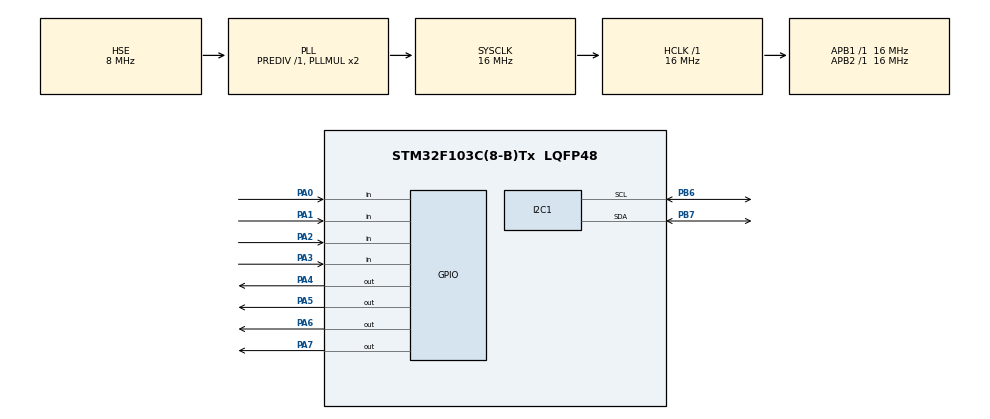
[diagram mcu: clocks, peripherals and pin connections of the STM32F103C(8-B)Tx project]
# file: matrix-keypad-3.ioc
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Mcu.Family=STM32F1
Mcu.Name=STM32F103C(8-B)Tx
Mcu.Package=LQFP48
NVIC.PriorityGroup=NVIC_PRIORITYGROUP_4
PA0-WKUP.Signal=GPIO_Input
PA1.Signal=GPIO_Input
PA13.Mode=Serial_Wire
PA13.Signal=SYS_JTMS-SWDIO
PA14.Mode=Serial_Wire
PA14.Signal=SYS_JTCK-SWCLK
PA2.Signal=GPIO_Input
PA3.Signal=GPIO_Input
PA4.Signal=GPIO_Output
PA5.Signal=GPIO_Output
PA6.Signal=GPIO_Output
PA7.Signal=GPIO_Output
PB6.Mode=I2C
PB6.Signal=I2C1_SCL
PB7.Mode=I2C
PB7.Signal=I2C1_SDA
PD0-OSC_IN.Mode=HSE-External-Oscillator
PD0-OSC_IN.Signal=RCC_OSC_IN
PD1-OSC_OUT.Mode=HSE-External-Oscillator
PD1-OSC_OUT.Signal=RCC_OSC_OUT
ProjectManager.HeapSize=0x200
ProjectManager.StackSize=0x400
ProjectManager.TargetToolchain=STM32CubeIDE
RCC.AHBFreq_Value=16000000
RCC.APB1Freq_Value=16000000
RCC.APB1TimFreq_Value=16000000
RCC.APB2Freq_Value=16000000
RCC.APB2TimFreq_Value=16000000
RCC.HCLKFreq_Value=16000000
RCC.PLLSourceVirtual=RCC_PLLSOURCE_HSE
RCC.SYSCLKFreq_VALUE=16000000
RCC.SYSCLKSource=RCC_SYSCLKSOURCE_PLLCLK
RCC.USBFreq_Value=16000000
board=custom

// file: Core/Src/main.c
/* USER CODE BEGIN Header */
/**
  ******************************************************************************
  * @file           : main.c
  * @brief          : Main program body
  ******************************************************************************
  * @attention
  *
  * <h2><center>&copy; Copyright (c) 2021 STMicroelectronics.
  * All rights reserved.</center></h2>
  *
  * This software component is licensed by ST under BSD 3-Clause license,
  * the "License"; You may not use this file except in compliance with the
  * License. You may obtain a copy of the License at:
  *                        opensource.org/licenses/BSD-3-Clause
  *
  ******************************************************************************
  */
/* USER CODE END Header */

#include "main.h"

/* USER CODE BEGIN Includes */
#include "i2c-lcd.h"

#define R1_PORT GPIOA
#define R1_PIN GPIO_PIN_7

#define R2_PORT GPIOA
#define R2_PIN GPIO_PIN_6

#define R3_PORT GPIOA
#define R3_PIN GPIO_PIN_5

#define R4_PORT GPIOA
#define R4_PIN GPIO_PIN_4

#define C1_PORT GPIOA
#define C1_PIN GPIO_PIN_3

#define C2_PORT GPIOA
#define C2_PIN GPIO_PIN_2

#define C3_PORT GPIOA
#define C3_PIN GPIO_PIN_1

#define C4_PORT GPIOA
#define C4_PIN GPIO_PIN_0

/* USER CODE END Includes */

I2C_HandleTypeDef hi2c1;

void SystemClock_Config(void);
static void MX_GPIO_Init(void);
static void MX_I2C1_Init(void);

/* USER CODE BEGIN 0 */
char read_keypad (void)
{

	// row 1 low
	HAL_GPIO_WritePin(R1_PORT, R1_PIN, GPIO_PIN_RESET);
	HAL_GPIO_WritePin(R2_PORT, R2_PIN, GPIO_PIN_SET);
	HAL_GPIO_WritePin(R3_PORT, R3_PIN, GPIO_PIN_SET);
	HAL_GPIO_WritePin(R4_PORT, R4_PIN, GPIO_PIN_SET);

	if(!(HAL_GPIO_ReadPin(C1_PORT, C1_PIN)))
	{
		while(!(HAL_GPIO_ReadPin(C1_PORT, C1_PIN)));
		return '1';
	}

	if(!(HAL_GPIO_ReadPin(C2_PORT, C2_PIN)))
	{
		while(!(HAL_GPIO_ReadPin(C2_PORT, C2_PIN)));
		return '2';
	}

	if(!(HAL_GPIO_ReadPin(C3_PORT, C3_PIN)))
	{
		while(!(HAL_GPIO_ReadPin(C3_PORT, C3_PIN)));
		return '3';
	}

	if(!(HAL_GPIO_ReadPin(C4_PORT, C4_PIN)))
	{
		while(!(HAL_GPIO_ReadPin(C4_PORT, C4_PIN)));
		return 'A';
	}

	// row 2 low
	HAL_GPIO_WritePin(R1_PORT, R1_PIN, GPIO_PIN_SET);
	HAL_GPIO_WritePin(R2_PORT, R2_PIN, GPIO_PIN_RESET);
	HAL_GPIO_WritePin(R3_PORT, R3_PIN, GPIO_PIN_SET);
	HAL_GPIO_WritePin(R4_PORT, R4_PIN, GPIO_PIN_SET);

	if(!(HAL_GPIO_ReadPin(C1_PORT, C1_PIN)))
	{
		while(!(HAL_GPIO_ReadPin(C1_PORT, C1_PIN)));
		return '4';
	}

	if(!(HAL_GPIO_ReadPin(C2_PORT, C2_PIN)))
	{
		while(!(HAL_GPIO_ReadPin(C2_PORT, C2_PIN)));
		return '5';
	}

	if(!(HAL_GPIO_ReadPin(C3_PORT, C3_PIN)))
	{
		while(!(HAL_GPIO_ReadPin(C3_PORT, C3_PIN)));
		return '6';
	}

	if(!(HAL_GPIO_ReadPin(C4_PORT, C4_PIN)))
	{
		while(!(HAL_GPIO_ReadPin(C4_PORT, C4_PIN)));
		return 'B';
	}

	// row 3 low
	HAL_GPIO_WritePin(R1_PORT, R1_PIN, GPIO_PIN_SET);
	HAL_GPIO_WritePin(R2_PORT, R2_PIN, GPIO_PIN_SET);
	HAL_GPIO_WritePin(R3_PORT, R3_PIN, GPIO_PIN_RESET);
	HAL_GPIO_WritePin(R4_PORT, R4_PIN, GPIO_PIN_SET);

	if(!(HAL_GPIO_ReadPin(C1_PORT, C1_PIN)))
	{
		while(!(HAL_GPIO_ReadPin(C1_PORT, C1_PIN)));
		return '7';
	}

	if(!(HAL_GPIO_ReadPin(C2_PORT, C2_PIN)))
	{
		while(!(HAL_GPIO_ReadPin(C2_PORT, C2_PIN)));
		return '8';
	}

	if(!(HAL_GPIO_ReadPin(C3_PORT, C3_PIN)))
	{
		while(!(HAL_GPIO_ReadPin(C3_PORT, C3_PIN)));
		return '9';
	}

	if(!(HAL_GPIO_ReadPin(C4_PORT, C4_PIN)))
	{
		while(!(HAL_GPIO_ReadPin(C4_PORT, C4_PIN)));
		return 'C';
	}

	// row 4 low
	HAL_GPIO_WritePin(R1_PORT, R1_PIN, GPIO_PIN_SET);
	HAL_GPIO_WritePin(R2_PORT, R2_PIN, GPIO_PIN_SET);
	HAL_GPIO_WritePin(R3_PORT, R3_PIN, GPIO_PIN_SET);
	HAL_GPIO_WritePin(R4_PORT, R4_PIN, GPIO_PIN_RESET);

	if(!(HAL_GPIO_ReadPin(C1_PORT, C1_PIN)))
	{
		while(!(HAL_GPIO_ReadPin(C1_PORT, C1_PIN)));
		return '*';
	}

	if(!(HAL_GPIO_ReadPin(C2_PORT, C2_PIN)))
	{
		while(!(HAL_GPIO_ReadPin(C2_PORT, C2_PIN)));
		return '0';
	}

	if(!(HAL_GPIO_ReadPin(C3_PORT, C3_PIN)))
	{
		while(!(HAL_GPIO_ReadPin(C3_PORT, C3_PIN)));
		return '#';
	}

	if(!(HAL_GPIO_ReadPin(C4_PORT, C4_PIN)))
	{
		while(!(HAL_GPIO_ReadPin(C4_PORT, C4_PIN)));
		return 'D';
	}
}
uint8_t key;
/* USER CODE END 0 */

int main(void)
{

  /* MCU Configuration--------------------------------------------------------*/

  /* Reset of all peripherals, Initializes the Flash interface and the Systick. */
  HAL_Init();

  /* Configure the system clock */
  SystemClock_Config();

  /* Initialize all configured peripherals */
  MX_GPIO_Init();
  MX_I2C1_Init();
  /* USER CODE BEGIN 2 */
  lcd_init ();
  lcd_send_cmd (0x80);
  lcd_send_string ("KEY: ");

  /* USER CODE END 2 */

  /* Infinite loop */
  while (1)
  {
	 key = read_keypad();
	 if (key != 0x01)
	 {
		 lcd_send_cmd (0x84);
		 lcd_send_data(key);
	 }

	 HAL_Delay(300);
  }
}

void SystemClock_Config(void)
{
  RCC_OscInitTypeDef RCC_OscInitStruct = {0};
  RCC_ClkInitTypeDef RCC_ClkInitStruct = {0};

  /** Initializes the CPU, AHB and APB busses clocks
  */
  RCC_OscInitStruct.OscillatorType = RCC_OSCILLATORTYPE_HSE;
  RCC_OscInitStruct.HSEState = RCC_HSE_ON;
  RCC_OscInitStruct.HSEPredivValue = RCC_HSE_PREDIV_DIV1;
  RCC_OscInitStruct.HSIState = RCC_HSI_ON;
  RCC_OscInitStruct.PLL.PLLState = RCC_PLL_ON;
  RCC_OscInitStruct.PLL.PLLSource = RCC_PLLSOURCE_HSE;
  RCC_OscInitStruct.PLL.PLLMUL = RCC_PLL_MUL2;
  if (HAL_RCC_OscConfig(&RCC_OscInitStruct) != HAL_OK)
  {
    Error_Handler();
  }
  /** Initializes the CPU, AHB and APB busses clocks
  */
  RCC_ClkInitStruct.ClockType = RCC_CLOCKTYPE_HCLK|RCC_CLOCKTYPE_SYSCLK
                              |RCC_CLOCKTYPE_PCLK1|RCC_CLOCKTYPE_PCLK2;
  RCC_ClkInitStruct.SYSCLKSource = RCC_SYSCLKSOURCE_PLLCLK;
  RCC_ClkInitStruct.AHBCLKDivider = RCC_SYSCLK_DIV1;
  RCC_ClkInitStruct.APB1CLKDivider = RCC_HCLK_DIV1;
  RCC_ClkInitStruct.APB2CLKDivider = RCC_HCLK_DIV1;

  if (HAL_RCC_ClockConfig(&RCC_ClkInitStruct, FLASH_LATENCY_0) != HAL_OK)
  {
    Error_Handler();
  }
}

static void MX_I2C1_Init(void)
{

  hi2c1.Instance = I2C1;
  hi2c1.Init.ClockSpeed = 100000;
  hi2c1.Init.DutyCycle = I2C_DUTYCYCLE_2;
  hi2c1.Init.OwnAddress1 = 0;
  hi2c1.Init.AddressingMode = I2C_ADDRESSINGMODE_7BIT;
  hi2c1.Init.DualAddressMode = I2C_DUALADDRESS_DISABLE;
  hi2c1.Init.OwnAddress2 = 0;
  hi2c1.Init.GeneralCallMode = I2C_GENERALCALL_DISABLE;
  hi2c1.Init.NoStretchMode = I2C_NOSTRETCH_DISABLE;
  if (HAL_I2C_Init(&hi2c1) != HAL_OK)
  {
    Error_Handler();
  }

}

static void MX_GPIO_Init(void)
{
  GPIO_InitTypeDef GPIO_InitStruct = {0};

  /* GPIO Ports Clock Enable */
  __HAL_RCC_GPIOD_CLK_ENABLE();
  __HAL_RCC_GPIOA_CLK_ENABLE();
  __HAL_RCC_GPIOB_CLK_ENABLE();

  /*Configure GPIO pin Output Level */
  HAL_GPIO_WritePin(GPIOA, GPIO_PIN_4|GPIO_PIN_5|GPIO_PIN_6|GPIO_PIN_7, GPIO_PIN_RESET);

  /*Configure GPIO pins : PA0 PA1 PA2 PA3 */
  GPIO_InitStruct.Pin = GPIO_PIN_0|GPIO_PIN_1|GPIO_PIN_2|GPIO_PIN_3;
  GPIO_InitStruct.Mode = GPIO_MODE_INPUT;
  GPIO_InitStruct.Pull = GPIO_NOPULL;
  HAL_GPIO_Init(GPIOA, &GPIO_InitStruct);

  /*Configure GPIO pins : PA4 PA5 PA6 PA7 */
  GPIO_InitStruct.Pin = GPIO_PIN_4|GPIO_PIN_5|GPIO_PIN_6|GPIO_PIN_7;
  GPIO_InitStruct.Mode = GPIO_MODE_OUTPUT_PP;
  GPIO_InitStruct.Pull = GPIO_NOPULL;
  GPIO_InitStruct.Speed = GPIO_SPEED_FREQ_LOW;
  HAL_GPIO_Init(GPIOA, &GPIO_InitStruct);

}

void Error_Handler(void)
{
}

/************************ (C) COPYRIGHT STMicroelectronics *****END OF FILE****/
